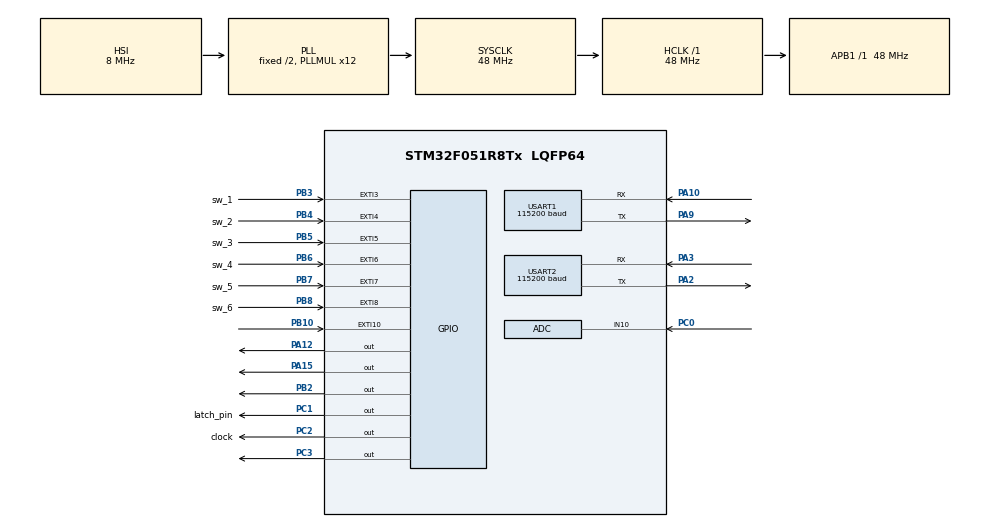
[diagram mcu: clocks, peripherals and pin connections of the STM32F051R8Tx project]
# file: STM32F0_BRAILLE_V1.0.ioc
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Mcu.Family=STM32F0
Mcu.Name=STM32F051R8Tx
Mcu.Package=LQFP64
NVIC.ADC1_COMP_IRQn=true\:0\:0\:false\:false\:true
NVIC.EXTI2_3_IRQn=true\:0\:0\:false\:false\:true
NVIC.EXTI4_15_IRQn=true\:0\:0\:false\:false\:true
NVIC.TIM3_IRQn=true\:0\:0\:false\:false\:true
NVIC.USART1_IRQn=true\:0\:0\:false\:false\:true
NVIC.USART2_IRQn=true\:0\:0\:false\:false\:true
PA10.Mode=Asynchronous
PA10.Signal=USART1_RX
PA12.PinState=GPIO_PIN_SET
PA12.Signal=GPIO_Output
PA13.Mode=Serial-WireDebug
PA13.Signal=SYS_SWDIO
PA14.Mode=Serial-WireDebug
PA14.Signal=SYS_SWCLK
PA15.PinState=GPIO_PIN_SET
PA15.Signal=GPIO_Output
PA2.Mode=Asynchronous
PA2.Signal=USART2_TX
PA3.Mode=Asynchronous
PA3.Signal=USART2_RX
PA9.Mode=Asynchronous
PA9.Signal=USART1_TX
PB10.GPIO_ModeDefaultEXTI=GPIO_MODE_IT_FALLING
PB10.Signal=GPXTI10
PB2.Signal=GPIO_Output
PB3.GPIO_Label=sw_1
PB3.GPIO_ModeDefaultEXTI=GPIO_MODE_IT_FALLING
PB3.Signal=GPXTI3
PB4.GPIO_Label=sw_2
PB4.GPIO_ModeDefaultEXTI=GPIO_MODE_IT_FALLING
PB4.Signal=GPXTI4
PB5.GPIO_Label=sw_3
PB5.GPIO_ModeDefaultEXTI=GPIO_MODE_IT_FALLING
PB5.Signal=GPXTI5
PB6.GPIO_Label=sw_4
PB6.GPIO_ModeDefaultEXTI=GPIO_MODE_IT_FALLING
PB6.Signal=GPXTI6
PB7.GPIO_Label=sw_5
PB7.GPIO_ModeDefaultEXTI=GPIO_MODE_IT_FALLING
PB7.Signal=GPXTI7
PB8.GPIO_Label=sw_6
PB8.GPIO_ModeDefaultEXTI=GPIO_MODE_IT_FALLING
PB8.Signal=GPXTI8
PC0.Mode=IN10
PC0.Signal=ADC_IN10
PC1.GPIO_Label=latch_pin
PC1.PinState=GPIO_PIN_SET
PC1.Signal=GPIO_Output
PC2.GPIO_Label=clock
PC2.Signal=GPIO_Output
PC3.Signal=GPIO_Output
ProjectManager.HeapSize=0x200
ProjectManager.StackSize=0x400
ProjectManager.TargetToolchain=MDK-ARM V5
RCC.AHBFreq_Value=48000000
RCC.APB1Freq_Value=48000000
RCC.APB1TimFreq_Value=48000000
RCC.HCLKFreq_Value=48000000
RCC.PLLMUL=RCC_PLL_MUL12
RCC.SYSCLKFreq_VALUE=48000000
RCC.SYSCLKSource=RCC_SYSCLKSOURCE_PLLCLK
USART1.BaudRate=115200
USART2.BaudRate=115200
VP_TIM3_VS_ClockSourceINT.Mode=Internal
board=STM32F0_BRAILLE_V1.0

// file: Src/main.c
/**
  ******************************************************************************
  * File Name          : main.c
  * Description        : Main program body
  ******************************************************************************
  *
  * COPYRIGHT(c) 2016 STMicroelectronics
  *
  * Redistribution and use in source and binary forms, with or without modification,
  * are permitted provided that the following conditions are met:
  *   1. Redistributions of source code must retain the above copyright notice,
  *      this list of conditions and the following disclaimer.
  *   2. Redistributions in binary form must reproduce the above copyright notice,
  *      this list of conditions and the following disclaimer in the documentation
  *      and/or other materials provided with the distribution.
  *   3. Neither the name of STMicroelectronics nor the names of its contributors
  *      may be used to endorse or promote products derived from this software
  *      without specific prior written permission.
  *
  * THIS SOFTWARE IS PROVIDED BY THE COPYRIGHT HOLDERS AND CONTRIBUTORS "AS IS"
  * AND ANY EXPRESS OR IMPLIED WARRANTIES, INCLUDING, BUT NOT LIMITED TO, THE
  * IMPLIED WARRANTIES OF MERCHANTABILITY AND FITNESS FOR A PARTICULAR PURPOSE ARE
  * DISCLAIMED. IN NO EVENT SHALL THE COPYRIGHT HOLDER OR CONTRIBUTORS BE LIABLE
  * FOR ANY DIRECT, INDIRECT, INCIDENTAL, SPECIAL, EXEMPLARY, OR CONSEQUENTIAL
  * DAMAGES (INCLUDING, BUT NOT LIMITED TO, PROCUREMENT OF SUBSTITUTE GOODS OR
  * SERVICES; LOSS OF USE, DATA, OR PROFITS; OR BUSINESS INTERRUPTION) HOWEVER
  * CAUSED AND ON ANY THEORY OF LIABILITY, WHETHER IN CONTRACT, STRICT LIABILITY,
  * OR TORT (INCLUDING NEGLIGENCE OR OTHERWISE) ARISING IN ANY WAY OUT OF THE USE
  * OF THIS SOFTWARE, EVEN IF ADVISED OF THE POSSIBILITY OF SUCH DAMAGE.
  *
  ******************************************************************************
  */
//#include "stm32f0xx_hal.h"
#include "main.h"
#include "print_debug.h"
#include "Braille.h"

ADC_HandleTypeDef hadc;

TIM_HandleTypeDef htim3;

UART_HandleTypeDef huart1;
UART_HandleTypeDef huart2;

/* USER CODE BEGIN PV */
data_t data_gsm, data_debug;
recv_uart_t recv_uart_1,recv_uart_2;
/* Private variables ---------------------------------------------------------*/

/* USER CODE END PV */

void SystemClock_Config(void);
static void MX_GPIO_Init(void);
static void MX_ADC_Init(void);
static void MX_TIM3_Init(void);
static void MX_USART1_UART_Init(void);
static void MX_USART2_UART_Init(void);
uint8_t status_sw[6];
/* USER CODE BEGIN PFP */
/* Private function prototypes -----------------------------------------------*/

/* USER CODE END PFP */

//int Num[8] = {00000001, 00000010, 00000100, 00001000, 00010000, 00100000, 01000000, 10000000};
//int Num[8] = {0x01, 0x02, 0x04, 0x08, 0x10, 0x20, 0x40, 0x80};
int main(void)
{

  /* MCU Configuration----------------------------------------------------------*/

  /* Reset of all peripherals, Initializes the Flash interface and the Systick. */
  HAL_Init();

  /* Configure the system clock */
  SystemClock_Config();

  /* Initialize all configured peripherals */
  MX_GPIO_Init();
  MX_ADC_Init();
  MX_TIM3_Init();
  MX_USART1_UART_Init();
  MX_USART2_UART_Init();

  /* USER CODE BEGIN 2 */
	__HAL_UART_ENABLE_IT(&huart1,UART_IT_RXNE);
	__HAL_UART_ENABLE_IT(&huart2,UART_IT_RXNE);
	memset(&recv_uart_1,0,sizeof(recv_uart_t));
	memset(&recv_uart_2,0,sizeof(recv_uart_t));
	print_init(&huart2);

  /* USER CODE END 2 */

  /* Infinite loop */
  /* USER CODE BEGIN WHILE */
	HAL_GPIO_WritePin(GPIOC, GPIO_PIN_3,0);
	HAL_GPIO_WritePin(GPIOC, clock_Pin, 0); //clock
	HAL_GPIO_WritePin(latch_pin_GPIO_Port, latch_pin_Pin, 1);
	for(int i=23;i>=0;i--){ //15(2)
		HAL_GPIO_WritePin(GPIOC, GPIO_PIN_3,0);//data
		HAL_GPIO_WritePin(GPIOC, clock_Pin, 1); //clock
		HAL_Delay(1);
		HAL_GPIO_WritePin(GPIOC, clock_Pin, 0); //clock
		HAL_Delay(1);
	}
	print_debug(0,"\n");
	HAL_GPIO_WritePin(latch_pin_GPIO_Port, latch_pin_Pin, 1);

	print_debug(0,"****** Start Program ******\n");
  while (1)
  {
			Braille_receivePacket();
			//manag_sw();
			if(status_sw[0]==0&&status_sw[1]==0&&status_sw[2]==0&&status_sw[3]==0&&status_sw[4]==0&&status_sw[5]==0){

			}
			else{
				manag_sw();
			}

  /* USER CODE END WHILE */

  }

}
void HAL_GPIO_EXTI_Callback(uint16_t GPIO_Pin)
{
  if (GPIO_Pin == GPIO_PIN_3)
  {
			status_sw[0] = 1;
  }
	if (GPIO_Pin == GPIO_PIN_4)
  {
			status_sw[1] = 1;
  }
	if (GPIO_Pin == GPIO_PIN_5)
  {
			status_sw[2] = 1;
  }
	if (GPIO_Pin == GPIO_PIN_6)
  {
			status_sw[3] = 1;
  }
	if (GPIO_Pin == GPIO_PIN_7)
  {
			status_sw[4] = 1;
  }
	if (GPIO_Pin == GPIO_PIN_8)
  {
			status_sw[5] = 1;
  }
}

void manag_sw(void){
		int i;
		HAL_Delay(500);
		//Braille_write(status_sw,6);
		Braille_sendAPI((char*)status_sw,6,0);
		print_debug(0,"Status SW : ");
		for(i=0;i<6;i++){
			print_debug(0," %d ",status_sw[i]);
			status_sw[i]=0;
		}
		print_debug(0,"\n");
}
/** System Clock Configuration
*/
void SystemClock_Config(void)
{

  RCC_OscInitTypeDef RCC_OscInitStruct;
  RCC_ClkInitTypeDef RCC_ClkInitStruct;
  RCC_PeriphCLKInitTypeDef PeriphClkInit;

  RCC_OscInitStruct.OscillatorType = RCC_OSCILLATORTYPE_HSI|RCC_OSCILLATORTYPE_HSI14;
  RCC_OscInitStruct.HSIState = RCC_HSI_ON;
  RCC_OscInitStruct.HSI14State = RCC_HSI14_ON;
  RCC_OscInitStruct.HSICalibrationValue = 16;
  RCC_OscInitStruct.HSI14CalibrationValue = 16;
  RCC_OscInitStruct.PLL.PLLState = RCC_PLL_ON;
  RCC_OscInitStruct.PLL.PLLSource = RCC_PLLSOURCE_HSI;
  RCC_OscInitStruct.PLL.PLLMUL = RCC_PLL_MUL12;
  RCC_OscInitStruct.PLL.PREDIV = RCC_PREDIV_DIV1;
  HAL_RCC_OscConfig(&RCC_OscInitStruct);

  RCC_ClkInitStruct.ClockType = RCC_CLOCKTYPE_HCLK|RCC_CLOCKTYPE_SYSCLK
                              |RCC_CLOCKTYPE_PCLK1;
  RCC_ClkInitStruct.SYSCLKSource = RCC_SYSCLKSOURCE_PLLCLK;
  RCC_ClkInitStruct.AHBCLKDivider = RCC_SYSCLK_DIV1;
  RCC_ClkInitStruct.APB1CLKDivider = RCC_HCLK_DIV1;
  HAL_RCC_ClockConfig(&RCC_ClkInitStruct, FLASH_LATENCY_1);

  PeriphClkInit.PeriphClockSelection = RCC_PERIPHCLK_USART1;
  PeriphClkInit.Usart1ClockSelection = RCC_USART1CLKSOURCE_PCLK1;
  HAL_RCCEx_PeriphCLKConfig(&PeriphClkInit);

  HAL_SYSTICK_Config(HAL_RCC_GetHCLKFreq()/1000);

  HAL_SYSTICK_CLKSourceConfig(SYSTICK_CLKSOURCE_HCLK);

  /* SysTick_IRQn interrupt configuration */
  HAL_NVIC_SetPriority(SysTick_IRQn, 0, 0);
}

/* ADC init function */
void MX_ADC_Init(void)
{

  ADC_ChannelConfTypeDef sConfig;

    /**Configure the global features of the ADC (Clock, Resolution, Data Alignment and number of conversion)
    */
  hadc.Instance = ADC1;
  hadc.Init.ClockPrescaler = ADC_CLOCK_ASYNC_DIV1;
  hadc.Init.Resolution = ADC_RESOLUTION_12B;
  hadc.Init.DataAlign = ADC_DATAALIGN_RIGHT;
  hadc.Init.ScanConvMode = ADC_SCAN_DIRECTION_FORWARD;
  hadc.Init.EOCSelection = ADC_EOC_SINGLE_CONV;
  hadc.Init.LowPowerAutoWait = DISABLE;
  hadc.Init.LowPowerAutoPowerOff = DISABLE;
  hadc.Init.ContinuousConvMode = DISABLE;
  hadc.Init.DiscontinuousConvMode = DISABLE;
  hadc.Init.ExternalTrigConvEdge = ADC_EXTERNALTRIGCONVEDGE_NONE;
  hadc.Init.DMAContinuousRequests = DISABLE;
  hadc.Init.Overrun = ADC_OVR_DATA_PRESERVED;
  HAL_ADC_Init(&hadc);

    /**Configure for the selected ADC regular channel to be converted.
    */
  sConfig.Channel = ADC_CHANNEL_10;
  sConfig.Rank = ADC_RANK_CHANNEL_NUMBER;
  sConfig.SamplingTime = ADC_SAMPLETIME_1CYCLE_5;
  HAL_ADC_ConfigChannel(&hadc, &sConfig);

}

/* TIM3 init function */
void MX_TIM3_Init(void)
{

  TIM_ClockConfigTypeDef sClockSourceConfig;
  TIM_MasterConfigTypeDef sMasterConfig;

  htim3.Instance = TIM3;
  htim3.Init.Prescaler = 0;
  htim3.Init.CounterMode = TIM_COUNTERMODE_UP;
  htim3.Init.Period = 0;
  htim3.Init.ClockDivision = TIM_CLOCKDIVISION_DIV1;
  HAL_TIM_Base_Init(&htim3);

  sClockSourceConfig.ClockSource = TIM_CLOCKSOURCE_INTERNAL;
  HAL_TIM_ConfigClockSource(&htim3, &sClockSourceConfig);

  sMasterConfig.MasterOutputTrigger = TIM_TRGO_RESET;
  sMasterConfig.MasterSlaveMode = TIM_MASTERSLAVEMODE_DISABLE;
  HAL_TIMEx_MasterConfigSynchronization(&htim3, &sMasterConfig);

}

/* USART1 init function */
void MX_USART1_UART_Init(void)
{

  huart1.Instance = USART1;
  huart1.Init.BaudRate = 115200;
  huart1.Init.WordLength = UART_WORDLENGTH_8B;
  huart1.Init.StopBits = UART_STOPBITS_1;
  huart1.Init.Parity = UART_PARITY_NONE;
  huart1.Init.Mode = UART_MODE_TX_RX;
  huart1.Init.HwFlowCtl = UART_HWCONTROL_NONE;
  huart1.Init.OverSampling = UART_OVERSAMPLING_16;
  huart1.Init.OneBitSampling = UART_ONE_BIT_SAMPLE_DISABLE;
  huart1.AdvancedInit.AdvFeatureInit = UART_ADVFEATURE_NO_INIT;
  HAL_UART_Init(&huart1);

}

/* USART2 init function */
void MX_USART2_UART_Init(void)
{

  huart2.Instance = USART2;
  huart2.Init.BaudRate = 115200;
  huart2.Init.WordLength = UART_WORDLENGTH_8B;
  huart2.Init.StopBits = UART_STOPBITS_1;
  huart2.Init.Parity = UART_PARITY_NONE;
  huart2.Init.Mode = UART_MODE_TX_RX;
  huart2.Init.HwFlowCtl = UART_HWCONTROL_NONE;
  huart2.Init.OverSampling = UART_OVERSAMPLING_16;
  huart2.Init.OneBitSampling = UART_ONE_BIT_SAMPLE_DISABLE;
  huart2.AdvancedInit.AdvFeatureInit = UART_ADVFEATURE_NO_INIT;
  HAL_UART_Init(&huart2);

}

/** Configure pins as
        * Analog
        * Input
        * Output
        * EVENT_OUT
        * EXTI
*/
void MX_GPIO_Init(void)
{

  GPIO_InitTypeDef GPIO_InitStruct;

  /* GPIO Ports Clock Enable */
  __HAL_RCC_GPIOC_CLK_ENABLE();
  __HAL_RCC_GPIOA_CLK_ENABLE();
  __HAL_RCC_GPIOB_CLK_ENABLE();

  /*Configure GPIO pin Output Level */
  HAL_GPIO_WritePin(latch_pin_GPIO_Port, latch_pin_Pin, GPIO_PIN_SET);

  /*Configure GPIO pin Output Level */
  HAL_GPIO_WritePin(GPIOC, clock_Pin|GPIO_PIN_3, GPIO_PIN_RESET);

  /*Configure GPIO pin Output Level */
  HAL_GPIO_WritePin(GPIOB, GPIO_PIN_2, GPIO_PIN_RESET);

  /*Configure GPIO pin Output Level */
  HAL_GPIO_WritePin(GPIOA, GPIO_PIN_12|GPIO_PIN_15, GPIO_PIN_SET);

  /*Configure GPIO pins : latch_pin_Pin clock_Pin PC3 */
  GPIO_InitStruct.Pin = latch_pin_Pin|clock_Pin|GPIO_PIN_3;
  GPIO_InitStruct.Mode = GPIO_MODE_OUTPUT_PP;
  GPIO_InitStruct.Pull = GPIO_NOPULL;
  GPIO_InitStruct.Speed = GPIO_SPEED_FREQ_LOW;
  HAL_GPIO_Init(GPIOC, &GPIO_InitStruct);

  /*Configure GPIO pin : PB2 */
  GPIO_InitStruct.Pin = GPIO_PIN_2;
  GPIO_InitStruct.Mode = GPIO_MODE_OUTPUT_PP;
  GPIO_InitStruct.Pull = GPIO_NOPULL;
  GPIO_InitStruct.Speed = GPIO_SPEED_FREQ_LOW;
  HAL_GPIO_Init(GPIOB, &GPIO_InitStruct);

  /*Configure GPIO pins : PB10 sw_1_Pin sw_2_Pin sw_3_Pin
                           sw_4_Pin sw_5_Pin sw_6_Pin */
  GPIO_InitStruct.Pin = GPIO_PIN_10|sw_1_Pin|sw_2_Pin|sw_3_Pin
                          |sw_4_Pin|sw_5_Pin|sw_6_Pin;
  GPIO_InitStruct.Mode = GPIO_MODE_IT_FALLING;
  GPIO_InitStruct.Pull = GPIO_NOPULL;
  HAL_GPIO_Init(GPIOB, &GPIO_InitStruct);

  /*Configure GPIO pins : PA12 PA15 */
  GPIO_InitStruct.Pin = GPIO_PIN_12|GPIO_PIN_15;
  GPIO_InitStruct.Mode = GPIO_MODE_OUTPUT_PP;
  GPIO_InitStruct.Pull = GPIO_NOPULL;
  GPIO_InitStruct.Speed = GPIO_SPEED_FREQ_LOW;
  HAL_GPIO_Init(GPIOA, &GPIO_InitStruct);

  /* EXTI interrupt init*/
  HAL_NVIC_SetPriority(EXTI2_3_IRQn, 0, 0);
  HAL_NVIC_EnableIRQ(EXTI2_3_IRQn);

  HAL_NVIC_SetPriority(EXTI4_15_IRQn, 0, 0);
  HAL_NVIC_EnableIRQ(EXTI4_15_IRQn);

}

/************************ (C) COPYRIGHT STMicroelectronics *****END OF FILE****/
